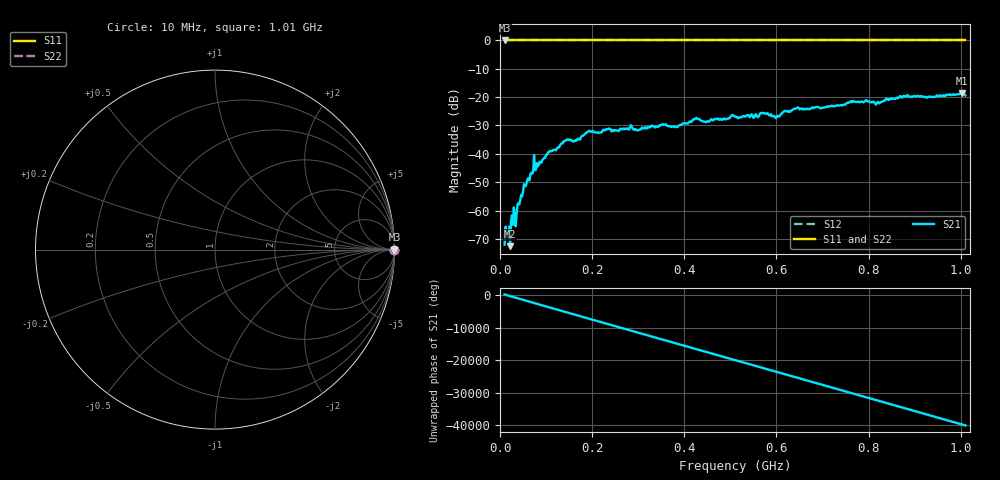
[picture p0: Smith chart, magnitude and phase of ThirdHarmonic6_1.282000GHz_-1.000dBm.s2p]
! 8/16/2025 1:57:43 PM
! C:\ANRITSUVNA\TEMP\TEMP.S2P
! CHANNEL.1
! TR.MEASUREMENT
! RAW.DATA
! RF.CORRECTION.OFF
! AVERAGING.OFF
! IF.BANDWIDTH: 5KHZ
! SWEEPTYPE:  FREQ.SWEEP(Linear)
! Reference Plane Port Info
! PORT:  PORT1  PORT2
! DISTANCE:  0  m  0  m
! TIME:  0  s  0  s
! PHASE.OFFSET:  0  deg.  0  deg.
! LOSS:  0  dB  0  dB
! REF.LOSS:  0  dB  0  dB
! REF.FREQ:  0  Hz  0  Hz
! Power Info
! POWER:  -20  dBm  -20  dBm
! EFF.POWER:  -20  dBm  -20  dBm
! SOURCE.ATTEN:  0  dB  0  dB
! TEST.ATTEN:  0  dB  0  dB
# GHZ S RI R 50.0
! FREQ.GHZ  S11RE  S11IM  S21RE  S21IM  S12RE  S12IM  S22RE  S22IM
!; PortSelection: Port_12
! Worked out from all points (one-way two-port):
!   501 points, 10 MHz to 1.01 GHz, reference 50 ohm
!   highest |S21| = -18.53 dB at 1.002 GHz (marker M1); lowest = -72.6 dB at 22 MHz (marker M2)
!   lowest |S11| = 0.0 dB at 10 MHz (marker M3)
!   |S11| at or under -10 dB: nowhere
!   |S22| runs from 0.0 to 0.0 dB; largest |S21 - S12| = 1.1
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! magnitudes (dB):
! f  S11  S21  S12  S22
! 10 MHz  0.0  -72.0  0.0  0.0
! 16 MHz  0.0  -69.6  0.0  0.0
! 18 MHz  0.0  -69.6  0.0  0.0
! 22 MHz  0.0  -72.6  0.0  0.0
! 28 MHz  0.0  -65.0  0.0  0.0
! 32 MHz  0.0  -61.9  0.0  0.0
! 50 MHz  0.0  -53.3  0.0  0.0
! 70 MHz  0.0  -47.0  0.0  0.0
! 142 MHz  0.0  -35.3  0.0  0.0
! 178 MHz  0.0  -33.6  0.0  0.0
! 192 MHz  0.0  -32.0  0.0  0.0
! 344 MHz  0.0  -30.4  0.0  0.0
! 382 MHz  0.0  -30.4  0.0  0.0
! 424 MHz  0.0  -27.5  0.0  0.0
! 510 MHz  0.0  -26.9  0.0  0.0
! 570 MHz  0.0  -25.5  0.0  0.0
! 602 MHz  0.0  -26.6  0.0  0.0
! 642 MHz  0.0  -24.0  0.0  0.0
! 678 MHz  0.0  -23.8  0.0  0.0
! 844 MHz  0.0  -21.0  0.0  0.0
! 1.002 GHz  0.0  -18.5  0.0  0.0
! 1.01 GHz  0.0  -19.4  0.0  0.0
